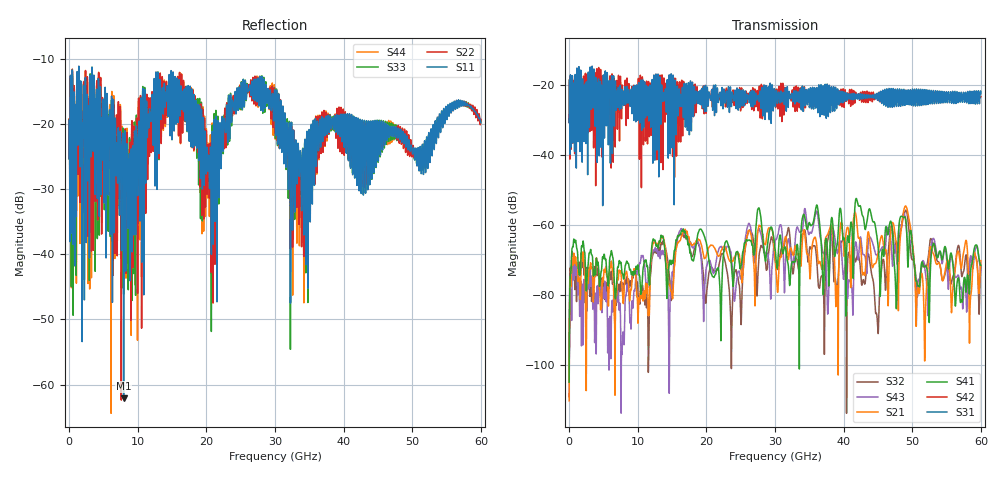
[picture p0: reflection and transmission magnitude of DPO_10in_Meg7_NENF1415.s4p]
! Tyco Electronics Strada Whisper System
! NEXT_F1415_G1112
!! SYSTEM DESCRIPTION: Daughtercard-Footprint-Connector-Footprint-Daughtercard
!! PCB DESCRIPTION: DC: 140mil, Megtron7N, upper layer route, 15mil stub, 6-6-6mil 10" traces
!! CONNECTOR DESCRIPTION: Next-Gen STRADA Whisper Direct-Plug Orthogonal Connector
!! MODEL DESCRIPTION: Tyco Electronics System 4-port S-parameter
!! MODEL STATUS: Developmental
!! MODEL GEOMETRY: Channel Model
!! MODEL FREQUENCY RANGE: DC to 60 GHz in 10 MHz frequency steps
!! MODEL EDGE RATE LIMITATION: 8.3 ps (Using conservative 0.5/Fmax rule of thumb)
!! TIME-DOMAIN TRANSFORM CAUTIONS:
!! 1.) Do not simulate transient edge rates faster than the number listed above.  Edge rates faster than this number
!!  contain significant spectral content at frequencies above the model's highest frequency.
!! 2.) Even when simulating edge rates that are slower than the number listed above, be aware that the best time
!!  resolution possible with a direct iFFT is (1 / 2Fmax).  As a result, time resolution is typically not adequate
!!  for most time-domain simulations unless tricks such as windowing are used to minimize leakage and aliasing.
!! 3.) Because the model has a uniform frequency step, a direct iFFT will result in an impulse that that has a time
!!  length given by either (1 / Fstep) or (1 / 2Fstep), depending on the transform being used.  Care has been taken
!!  in selecting the frequency step to ensure a settled impulse response for the model.  Therefore, convolution with
!!  the model's impulse response should present no issues.  However, if directly concatenating s-parameter models
!!  in the frequency domain a user must either interpolate necessary interim frequencies or complete impulse response
!!  zero-padding.  Impulse response zero-padding is more difficult, but more accurate.
!! PORT DEFINITIONS:
!! Port  1  ----->  RX Side	F14  G11  RX Side  <-----  Port  3
!! Port  2  ----->  RX Side	F15  G12  RX Side  <-----  Port  4
!!!!!!!!!!!!!!!!!!!!!!!!!!!!!!!!!!!!!!!!!!!!!!!!!!!!!!!!!!!!!!!!!!!!!!!!!!!!!!!!!!!!!!!!!!!!!!!!!!!!!!!!!!!!!!!!!!!!!!!!! Touchstone data
! Created: 10-Dec-2018 by IdEM R2012 (8.0.5)
# Hz S MA R 50
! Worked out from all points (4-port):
!   6000 points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, 10 MHz to 60 GHz, reference 50 ohm
!   strongest paths, dB at 10 MHz, 15.01 GHz, 30.01 GHz, 45.01 GHz, 60 GHz:
!     S31: -30.8, -35.4, -25.0, -23.5, -22.6
!     S42: -30.8, -20.9, -22.4, -22.6, -23.5
!     S41: -104.9, -70.1, -66.7, -65.8, -71.5
!     S21: -110.2, -80.1, -69.6, -68.2, -70.2
!     S43: -109.1, -73.8, -64.6, -68.2, -73.1
!     S32: -99.9, -79.6, -69.8, -90.7, -71.9
!   lowest |S11| = -62.1 dB at 7.95 GHz (marker M1), VSWR 1.00, Z = 50.1 - j0.0557 ohm
!   |S11| at or under -10 dB: start of sweep to end of sweep
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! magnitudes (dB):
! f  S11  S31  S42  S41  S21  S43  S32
! 10 MHz  -25.3  -30.8  -30.8  -104.9  -110.2  -109.1  -99.9
! 7.95 GHz  -62.1  -25.4  -24.4  -75.5  -81.7  -92.0  -78.7
! 34.39 GHz  -22.4  -26.0  -24.9  -58.3  -63.6  -55.5  -61.7
! 37.69 GHz  -19.0  -22.5  -20.6  -68.8  -62.6  -85.4  -64.4
! 48.78 GHz  -23.0  -21.4  -23.2  -57.9  -55.8  -56.7  -57.4
! 50.76 GHz  -25.2  -26.0  -23.1  -77.1  -78.2  -77.1  -80.4
! 60 GHz  -19.8  -22.6  -23.5  -71.5  -70.2  -73.1  -71.9
